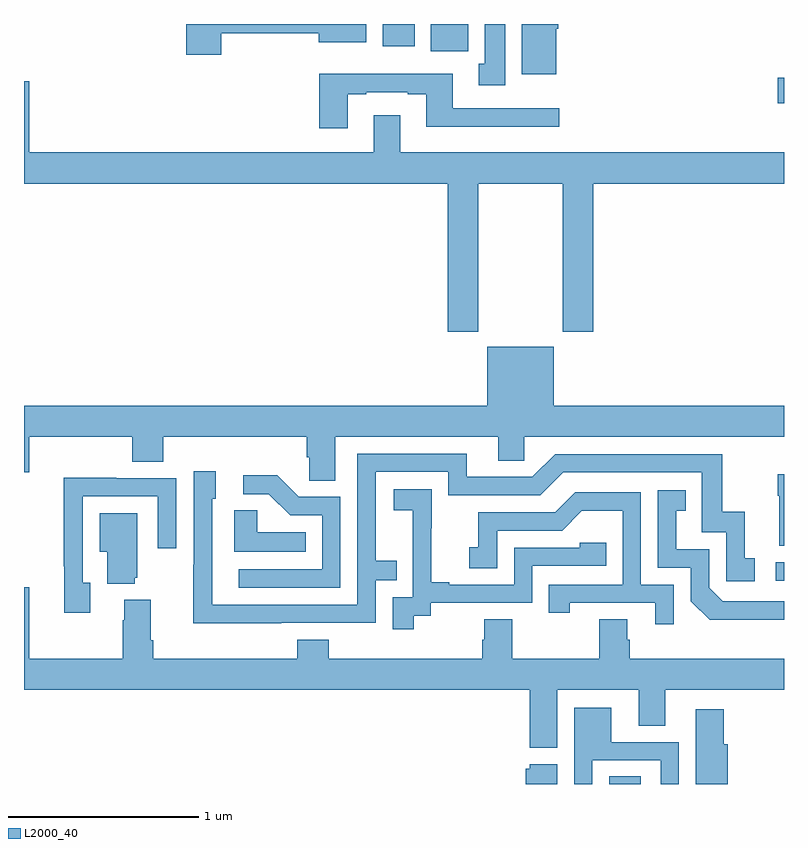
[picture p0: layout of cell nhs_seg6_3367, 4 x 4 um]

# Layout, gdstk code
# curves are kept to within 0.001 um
import gdstk
lib = gdstk.Library(unit=1e-6, precision=1e-09)
def R(c, l, rs):  # rectangles x0, y0, x1, y1
    for r in rs: c.add(gdstk.rectangle(r[:2], r[2:], *l))
def P(c, l, *ps):  # polygons
    for p in ps: c.add(gdstk.Polygon(p, *l))
L2000_40 = (2000, 40)

nhs_seg6_3367 = lib.new_cell('nhs_seg6_3367')
R(nhs_seg6_3367, L2000_40, [(312.08,953.5,312.247,953.54), (312.957,954.57,313,954.666), (312.966,957.083,313,957.218), (311.141,957.356,311.338,957.5), (310.889,957.384,311.056,957.5)])
P(nhs_seg6_3367, L2000_40, [(311.533,957.5),(311.426,957.5),(311.426,957.29),(311.393,957.29),(311.393,957.177),(311.533,957.177)],
  [(311.8,957.476),(311.813,957.476),(311.813,957.5),(311.621,957.5),(311.621,957.236),(311.8,957.236)],
  [(310.037,957.451),(310.55,957.451),(310.55,957.404),(310.801,957.404),(310.801,957.5),(309.854,957.5),(309.854,957.339),(310.037,957.339)],
  [(310.705,957.129),(310.801,957.129),(310.801,957.141),(311.021,957.141),(311.021,957.129),(311.117,957.129),(311.117,956.96),(311.818,956.96),(311.818,957.057),(311.257,957.057),(311.257,957.238),(310.553,957.238),(310.553,956.952),(310.705,956.952)],
  [(311.391,956.66),(311.836,956.66),(311.836,955.881),(311.996,955.881),(311.996,956.66),(313,956.66),(313,956.824),(310.981,956.824),(310.981,957.019),(310.841,957.019),(310.841,956.824),(309.028,956.824),(309.028,957.199),(309,957.199),(309,956.66),(311.231,956.66),(311.231,955.881),(311.391,955.881)],
  [(310.639,955.328),(311.495,955.328),(311.495,955.201),(311.634,955.201),(311.634,955.328),(313,955.328),(313,955.492),(311.788,955.492),(311.788,955.801),(311.438,955.801),(311.438,955.492),(309,955.492),(309,955.14),(309.028,955.14),(309.028,955.328),(309.569,955.328),(309.569,955.195),(309.734,955.195),(309.734,955.328),(310.487,955.328),(310.487,955.219),(310.5,955.219),(310.5,955.096),(310.639,955.096)],
  [(310.355,954.348),(310.851,954.348),(310.851,954.573),(310.961,954.573),(310.961,954.674),(310.851,954.674),(310.851,955.143),(311.232,955.143),(311.232,955.02),(311.718,955.02),(311.838,955.14),(312.567,955.14),(312.567,954.825),(312.696,954.825),(312.696,954.567),(312.847,954.567),(312.847,954.687),(312.794,954.687),(312.794,954.934),(312.676,954.934),(312.676,955.236),(311.796,955.236),(311.676,955.116),(311.329,955.116),(311.329,955.239),(310.755,955.239),(310.755,954.444),(309.99,954.444),(309.99,955.002),(310.009,955.002),(310.009,955.147),(309.894,955.147),(309.894,954.653),(309.892,954.653),(309.892,954.347)],
  [(313,955.129),(312.967,955.129),(312.967,955.016),(312.974,955.016),(312.974,954.755),(313,954.755)],
  [(310.665,955.011),(310.446,955.011),(310.333,955.124),(310.155,955.124),(310.155,955.026),(310.289,955.026),(310.4,954.915),(310.569,954.915),(310.569,954.63),(310.131,954.63),(310.131,954.534),(310.665,954.534)],
  [(309.349,954.558),(309.309,954.558),(309.309,955.014),(309.705,955.014),(309.705,954.741),(309.801,954.741),(309.801,955.11),(309.485,955.11),(309.485,955.112),(309.208,955.112),(309.208,954.646),(309.212,954.646),(309.212,954.402),(309.349,954.402)],
  [(311.05,954.385),(311.142,954.385),(311.142,954.453),(311.676,954.453),(311.676,954.648),(312.065,954.648),(312.065,954.771),(311.925,954.771),(311.925,954.744),(311.58,954.744),(311.58,954.549),(311.239,954.549),(311.239,954.562),(311.144,954.562),(311.144,954.845),(311.145,954.845),(311.145,955.051),(310.947,955.051),(310.947,954.941),(311.045,954.941),(311.045,954.713),(311.046,954.713),(311.046,954.483),(310.941,954.483),(310.941,954.315),(311.05,954.315)],
  [(313,954.462),(312.678,954.462),(312.606,954.534),(312.606,954.735),(312.433,954.735),(312.433,954.939),(312.482,954.939),(312.482,955.045),(312.336,955.045),(312.336,954.639),(312.51,954.639),(312.51,954.462),(312.608,954.365),(313,954.365)],
  [(312.42,954.549),(312.246,954.549),(312.246,955.035),(311.9,955.035),(311.795,954.93),(311.392,954.93),(311.392,954.745),(311.343,954.745),(311.343,954.636),(311.49,954.636),(311.49,954.834),(311.832,954.834),(311.936,954.938),(312.15,954.938),(312.15,954.549),(311.761,954.549),(311.761,954.402),(311.872,954.402),(311.872,954.453),(312.323,954.453),(312.323,954.342),(312.42,954.342)],
  [(310.484,954.826),(310.227,954.826),(310.227,954.941),(310.106,954.941),(310.106,954.722),(310.484,954.722)],
  [(309.584,954.585),(309.595,954.585),(309.595,954.925),(309.398,954.925),(309.398,954.722),(309.437,954.722),(309.437,954.554),(309.584,954.554)],
  [(311.806,953.996),(312.236,953.996),(312.236,953.806),(312.376,953.806),(312.376,953.996),(313,953.996),(313,954.16),(312.188,954.16),(312.188,954.258),(312.175,954.258),(312.175,954.368),(312.028,954.368),(312.028,954.16),(311.571,954.16),(311.571,954.368),(311.423,954.368),(311.423,954.258),(311.411,954.258),(311.411,954.16),(310.604,954.16),(310.604,954.259),(310.439,954.259),(310.439,954.16),(309.68,954.16),(309.68,954.256),(309.667,954.256),(309.667,954.469),(309.527,954.469),(309.527,954.362),(309.52,954.362),(309.52,954.16),(309.028,954.16),(309.028,954.535),(309,954.535),(309,953.996),(311.663,953.996),(311.663,953.69),(311.806,953.69)],
  [(311.991,953.625),(312.351,953.625),(312.351,953.5),(312.447,953.5),(312.447,953.721),(312.091,953.721),(312.091,953.902),(311.895,953.902),(311.895,953.5),(311.991,953.5)],
  [(312.704,953.709),(312.683,953.709),(312.683,953.893),(312.536,953.893),(312.536,953.5),(312.704,953.5)],
  [(311.806,953.605),(311.661,953.605),(311.661,953.58),(311.642,953.58),(311.642,953.5),(311.806,953.5)])

lib.write_gds('nhs_seg6_3367.gds')
